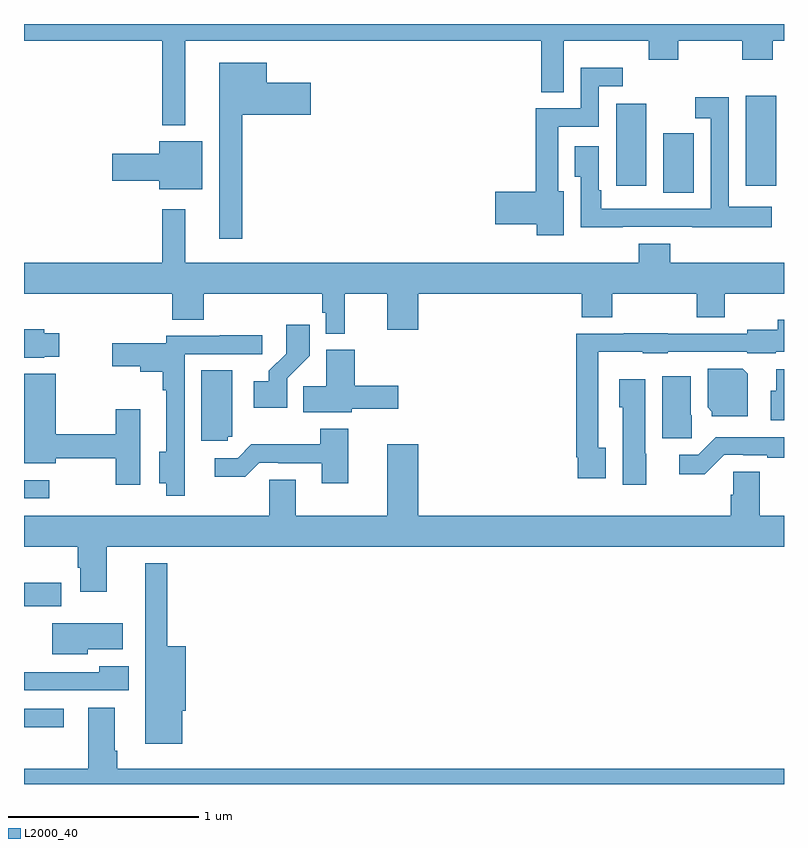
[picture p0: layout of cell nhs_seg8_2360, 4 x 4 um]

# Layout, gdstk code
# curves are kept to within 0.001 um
import gdstk
lib = gdstk.Library(unit=1e-6, precision=1e-09)
def R(c, l, rs):  # rectangles x0, y0, x1, y1
    for r in rs: c.add(gdstk.rectangle(r[:2], r[2:], *l))
def P(c, l, *ps):  # polygons
    for p in ps: c.add(gdstk.Polygon(p, *l))
L2000_40 = (2000, 40)

nhs_seg8_2360 = lib.new_cell('nhs_seg8_2360')
R(nhs_seg8_2360, L2000_40, [(259,1134.199,259.21,1134.297), (259,1134.836,259.195,1134.958), (259,1135.404,259.132,1135.5), (262.364,1137.013,262.525,1137.324), (262.118,1137.048,262.276,1137.481), (262.799,1137.048,262.96,1137.523)])
P(nhs_seg8_2360, L2000_40, [(259.849,1137.812),(261.723,1137.812),(261.723,1137.541),(261.841,1137.541),(261.841,1137.812),(262.288,1137.812),(262.288,1137.713),(262.443,1137.713),(262.443,1137.812),(262.78,1137.812),(262.78,1137.713),(262.94,1137.713),(262.94,1137.812),(263,1137.812),(263,1137.9),(259,1137.9),(259,1137.812),(259.728,1137.812),(259.728,1137.368),(259.849,1137.368)],
  [(260.149,1137.422),(260.509,1137.422),(260.509,1137.592),(260.278,1137.592),(260.278,1137.697),(260.027,1137.697),(260.027,1136.769),(260.149,1136.769)],
  [(261.841,1137.019),(261.811,1137.019),(261.811,1137.36),(262.026,1137.36),(262.026,1137.573),(262.15,1137.573),(262.15,1137.67),(261.93,1137.67),(261.93,1137.456),(261.693,1137.456),(261.693,1137.017),(261.48,1137.017),(261.48,1136.846),(261.698,1136.846),(261.698,1136.787),(261.841,1136.787)],
  [(262.151,1136.832),(262.517,1136.832),(262.517,1136.831),(262.936,1136.831),(262.936,1136.938),(262.71,1136.938),(262.71,1137.514),(262.533,1137.514),(262.533,1137.405),(262.614,1137.405),(262.614,1136.928),(262.039,1136.928),(262.039,1137.025),(262.026,1137.025),(262.026,1137.256),(261.899,1137.256),(261.899,1137.097),(261.93,1137.097),(261.93,1136.831),(262.151,1136.831)],
  [(259.939,1137.283),(259.712,1137.283),(259.712,1137.218),(259.464,1137.218),(259.464,1137.076),(259.712,1137.076),(259.712,1137.029),(259.939,1137.029)],
  [(260.688,1136.48),(260.912,1136.48),(260.912,1136.292),(261.076,1136.292),(261.076,1136.48),(261.935,1136.48),(261.935,1136.356),(262.095,1136.356),(262.095,1136.48),(262.54,1136.48),(262.54,1136.356),(262.687,1136.356),(262.687,1136.48),(263,1136.48),(263,1136.644),(262.4,1136.644),(262.4,1136.743),(262.235,1136.743),(262.235,1136.644),(259.849,1136.644),(259.849,1136.926),(259.728,1136.926),(259.728,1136.644),(259,1136.644),(259,1136.48),(259.781,1136.48),(259.781,1136.344),(259.946,1136.344),(259.946,1136.48),(260.569,1136.48),(260.569,1136.379),(260.589,1136.379),(260.589,1136.27),(260.688,1136.27)],
  [(262.063,1135.67),(262.023,1135.67),(262.023,1136.174),(262.257,1136.174),(262.257,1136.168),(262.389,1136.168),(262.389,1136.175),(262.806,1136.175),(262.806,1136.168),(262.956,1136.168),(262.956,1136.174),(263,1136.174),(263,1136.344),(262.967,1136.344),(262.967,1136.29),(262.806,1136.29),(262.806,1136.271),(262.389,1136.271),(262.389,1136.273),(262.157,1136.273),(262.157,1136.271),(261.907,1136.271),(261.907,1135.621),(261.915,1135.621),(261.915,1135.509),(262.063,1135.509)],
  [(260.385,1136.035),(260.504,1136.154),(260.504,1136.317),(260.379,1136.317),(260.379,1136.165),(260.288,1136.075),(260.288,1136.02),(260.208,1136.02),(260.208,1135.88),(260.385,1135.88)],
  [(259.107,1136.15),(259.186,1136.15),(259.186,1136.272),(259.107,1136.272),(259.107,1136.293),(259,1136.293),(259,1136.144),(259.107,1136.144)],
  [(259.846,1135.638),(259.845,1135.638),(259.845,1136.163),(260.254,1136.163),(260.254,1136.262),(260.029,1136.262),(260.029,1136.259),(259.748,1136.259),(259.748,1136.221),(259.464,1136.221),(259.464,1136.099),(259.613,1136.099),(259.613,1136.069),(259.729,1136.069),(259.729,1135.973),(259.748,1135.973),(259.748,1135.65),(259.712,1135.65),(259.712,1135.484),(259.748,1135.484),(259.748,1135.416),(259.846,1135.416)],
  [(260.724,1135.874),(260.971,1135.874),(260.971,1135.996),(260.741,1135.996),(260.741,1136.185),(260.591,1136.185),(260.591,1135.994),(260.47,1135.994),(260.47,1135.856),(260.724,1135.856)],
  [(262.81,1136.06),(262.784,1136.086),(262.598,1136.086),(262.598,1135.882),(262.62,1135.86),(262.62,1135.835),(262.81,1135.835)],
  [(263,1136.084),(262.958,1136.084),(262.958,1135.971),(262.931,1135.971),(262.931,1135.814),(263,1135.814)],
  [(260.073,1135.728),(260.095,1135.728),(260.095,1136.077),(259.934,1136.077),(259.934,1135.707),(260.073,1135.707)],
  [(259.612,1135.873),(259.483,1135.873),(259.483,1135.742),(259.168,1135.742),(259.168,1136.059),(259.001,1136.059),(259.001,1135.589),(259.168,1135.589),(259.168,1135.614),(259.483,1135.614),(259.483,1135.476),(259.612,1135.476)],
  [(262.514,1135.842),(262.51,1135.842),(262.51,1136.047),(262.358,1136.047),(262.358,1135.719),(262.514,1135.719)],
  [(262.276,1135.638),(262.27,1135.638),(262.27,1136.029),(262.133,1136.029),(262.133,1135.884),(262.151,1135.884),(262.151,1135.476),(262.276,1135.476)],
  [(260.707,1135.771),(260.56,1135.771),(260.56,1135.687),(260.197,1135.687),(260.124,1135.614),(260.004,1135.614),(260.004,1135.517),(260.165,1135.517),(260.238,1135.59),(260.338,1135.59),(260.338,1135.587),(260.567,1135.587),(260.567,1135.482),(260.707,1135.482)],
  [(262.686,1135.632),(262.786,1135.632),(262.786,1135.629),(262.913,1135.629),(262.913,1135.617),(263,1135.617),(263,1135.725),(262.642,1135.726),(262.548,1135.632),(262.449,1135.632),(262.449,1135.53),(262.584,1135.53)],
  [(259.435,1135.148),(263,1135.148),(263,1135.312),(262.873,1135.312),(262.873,1135.544),(262.734,1135.544),(262.734,1135.422),(262.721,1135.422),(262.721,1135.312),(261.076,1135.312),(261.076,1135.687),(260.912,1135.687),(260.912,1135.312),(260.431,1135.312),(260.431,1135.502),(260.292,1135.502),(260.292,1135.312),(259,1135.312),(259,1135.148),(259.283,1135.148),(259.283,1135.038),(259.295,1135.038),(259.295,1134.912),(259.435,1134.912)],
  [(259.834,1134.285),(259.852,1134.285),(259.852,1134.625),(259.754,1134.625),(259.754,1135.063),(259.637,1135.063),(259.637,1134.841),(259.638,1134.841),(259.638,1134.516),(259.637,1134.516),(259.637,1134.113),(259.834,1134.113)],
  [(259.335,1134.608),(259.519,1134.608),(259.519,1134.745),(259.149,1134.745),(259.149,1134.584),(259.335,1134.584)],
  [(259.552,1134.52),(259.397,1134.52),(259.397,1134.489),(259,1134.489),(259,1134.393),(259.552,1134.393)],
  [(263,1133.98),(259.49,1133.98),(259.49,1134.076),(259.477,1134.076),(259.477,1134.301),(259.337,1134.301),(259.337,1133.98),(259,1133.98),(259,1133.9),(263,1133.9)])

lib.write_gds('nhs_seg8_2360.gds')
